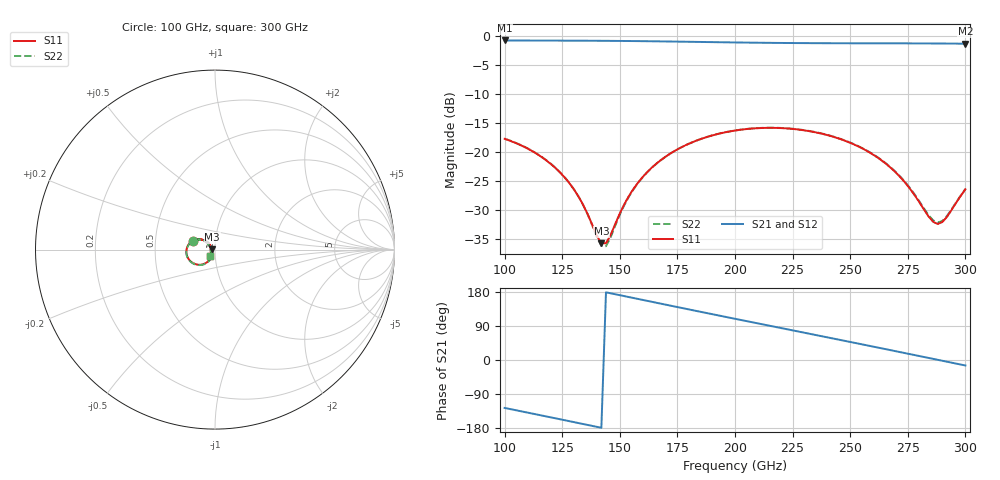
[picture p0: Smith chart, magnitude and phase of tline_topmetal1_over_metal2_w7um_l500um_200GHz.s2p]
#  GHZ S DB R 50
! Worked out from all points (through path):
!   101 points, 100 GHz to 300 GHz, reference 50 ohm
!   highest |S21| = -0.82 dB at 100 GHz (marker M1); lowest = -1.4 dB at 300 GHz (marker M2)
!   group delay of S21, straight-line fit = 3.44 ps
!   lowest |S11| = -35.8 dB at 142 GHz (marker M3), VSWR 1.03, Z = 48.4 + j0.0594 ohm
!   |S11| at or under -10 dB: start of sweep to end of sweep
!   |S22| runs from -36.3 to -15.9 dB; largest |S21 - S12| = 1.1e-14
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100  -17.79 159.0  -0.82 -126.5  -0.82 -126.5  -17.76 159.3
110  -19.48 148.1  -0.83 -138.9  -0.83 -138.9  -19.45 148.3
120  -22.11 138.7  -0.84 -151.3  -0.84 -151.3  -22.07 138.7
128  -25.38 134.2  -0.85 -161.3  -0.85 -161.3  -25.35 134.0
134  -29.12 136.6  -0.86 -168.8  -0.86 -168.8  -29.13 135.7
142  -35.84 177.8  -0.88 -178.9  -0.88 -178.9  -36.27 176.7
144  -35.80 -159.6  -0.88 178.6  -0.88 178.6  -36.31 -159.2
152  -29.04 -119.1  -0.91 168.5  -0.91 168.5  -29.19 -117.1
156  -26.39 -116.7  -0.92 163.5  -0.92 163.5  -26.47 -114.9
162  -23.49 -118.4  -0.95 156.0  -0.95 156.0  -23.53 -116.8
168  -21.40 -122.8  -0.98 148.4  -0.98 148.4  -21.42 -121.3
182  -18.30 -136.3  -1.06 131.0  -1.06 131.0  -18.29 -134.9
200  -16.36 -155.7  -1.16 108.8  -1.16 108.8  -16.35 -154.3
216  -15.90 -173.1  -1.23 89.2  -1.23 89.2  -15.88 -171.7
234  -16.59 167.6  -1.28 67.2  -1.28 67.2  -16.56 169.2
252  -18.82 149.9  -1.30 45.2  -1.30 45.2  -18.77 151.6
268  -22.93 138.8  -1.31 25.4  -1.31 25.4  -22.86 140.8
276  -26.43 139.9  -1.32 15.5  -1.32 15.5  -26.31 142.1
284  -31.18 159.9  -1.33 5.5  -1.33 5.5  -30.96 161.9
288  -32.49 -174.6  -1.34 0.5  -1.34 0.5  -32.25 -173.3
292  -31.25 -148.9  -1.35 -4.5  -1.35 -4.5  -31.10 -148.0
300  -26.50 -128.2  -1.38 -14.5  -1.38 -14.5  -26.45 -126.9
